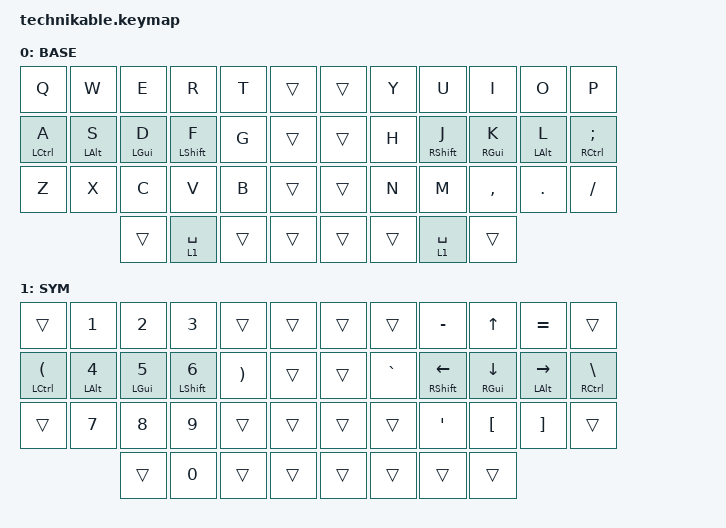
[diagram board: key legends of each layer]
/*
 * Copyright (c) 2022 Pete Johanson
 *
 * SPDX-License-Identifier: MIT
 */

#include <behaviors.dtsi>
#include <dt-bindings/zmk/keys.h>

&caps_word {
};

/ {
    chosen { zmk,matrix_transform = &ortho_transform; };

    conditional_layers { compatible = "zmk,conditional-layers"; };

    combos {
        compatible = "zmk,combos";

        caps_word {
            bindings = <&caps_word>;
            key-positions = <15 20>;
        };

        tab {
            bindings = <&kp TAB>;
            key-positions = <3 2>;
        };

        bspc {
            bindings = <&kp BSPC>;
            key-positions = <8 9>;
        };

        esc {
            bindings = <&kp ESC>;
            key-positions = <26 27>;
        };

        ent {
            bindings = <&kp ENTER>;
            key-positions = <32 33>;
        };
    };

    behaviors {
        hml: hml {
            compatible = "zmk,behavior-hold-tap";
            label = "HML";
            #binding-cells = <2>;
            flavor = "balanced";
            tapping-term-ms = <200>;
            bindings = <&kp>, <&kp>;

            hold-trigger-key-positions = <7 8 9 10 11 19 20 21 22 23 31 32 33 34 35 38 41 42 43>;
        };

        hmr: hmr {
            compatible = "zmk,behavior-hold-tap";
            label = "HMR";
            #binding-cells = <2>;
            flavor = "balanced";
            tapping-term-ms = <200>;
            bindings = <&kp>, <&kp>;

            hold-trigger-key-positions = <4 16 27 28 26 25 24 12 0 1 2 3 15 14 13 36 37 38>;
        };

        /**
         * Temporarily switches to a layer (`&mo`) while a modifier is held.
         * Analogous to QMK's `LM()`, using a parameterized macro.
         *
         * Params:
         *  1. Layer to switch to
         *  2. Modifier to press while layer is active
         *
         * Example:
         *  `&lm NUM_LAYER LSHIFT`
         */

        lm: lm {
            compatible = "zmk,behavior-macro-two-param";
            wait-ms = <0>;
            tap-ms = <0>;
            #binding-cells = <2>;
            bindings =
                <&macro_param_1to1>,
                <&macro_press>,
                <&mo MACRO_PLACEHOLDER &macro_param_2to1>,
                <&macro_press>,
                <&kp MACRO_PLACEHOLDER>,
                <&macro_pause_for_release>,
                <&macro_param_2to1>,
                <&macro_release>,
                <&kp MACRO_PLACEHOLDER &macro_param_1to1>,
                <&macro_release>,
                <&mo MACRO_PLACEHOLDER>;
        };
    };

    macros {
    };

    keymap {
        compatible = "zmk,keymap";

        base_layer {
            label = "BASE";
            bindings = <
&kp Q         &kp W        &kp E        &kp R         &kp T   &trans          &trans  &kp Y        &kp U         &kp I        &kp O        &kp P
&hml LCTRL A  &hml LALT S  &hml LGUI D  &hml LSHFT F  &kp G   &trans          &trans  &kp H        &hmr RSHFT J  &hmr RGUI K  &hmr LALT L  &hmr RCTRL SEMI
&kp Z         &kp X        &kp C        &kp V         &kp B   &trans          &trans  &kp N        &kp M         &kp COMMA    &kp DOT      &kp FSLH
                           &trans       &lt 1 SPACE   &trans  &trans  &trans  &trans  &lt 1 SPACE  &trans
            >;
        };

        sym_layer {
            bindings = <
&trans                       &kp N1        &kp N2        &kp N3         &trans                 &trans          &trans  &trans     &kp MINUS         &kp UP            &kp EQUAL          &trans
&hml LCTRL LEFT_PARENTHESIS  &hml LALT N4  &hml LGUI N5  &hml LSHFT N6  &kp RIGHT_PARENTHESIS  &trans          &trans  &kp GRAVE  &hmr RSHIFT LEFT  &hmr RGUI DOWN    &hmr LALT RIGHT    &hmr RCTRL BACKSLASH
&trans                       &kp N7        &kp N8        &kp N9         &trans                 &trans          &trans  &trans     &kp SINGLE_QUOTE  &kp LEFT_BRACKET  &kp RIGHT_BRACKET  &trans
                                           &trans        &kp N0         &trans                 &trans  &trans  &trans  &trans     &trans
            >;

            label = "SYM";
        };
    };
};
